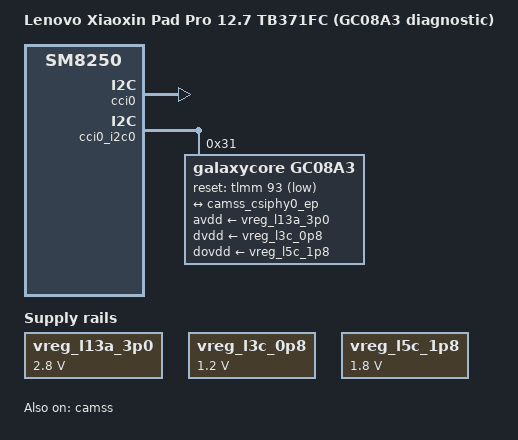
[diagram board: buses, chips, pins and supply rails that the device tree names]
// SPDX-License-Identifier: GPL-2.0-only
/*
 * Temporary, non-installable TB371FC rear GC08A3 identification variant.
 *
 * Boot this DTB only after Android inventory identifies the QTECH GC08A3
 * module. It enables CAMSS, CCI0 master 0 and the three sensor rails; it does
 * not enable the actuator, EEPROM or flash. Never replace the normal DTB with
 * this file and never flash it to a boot slot.
 */

#include <dt-bindings/media/video-interfaces.h>
#include "sm8250-lenovo-tb371fc.dts"

/ {
	model = "Lenovo Xiaoxin Pad Pro 12.7 TB371FC (GC08A3 diagnostic)";
};

/* Stock PM8150 L13 rear analog rail: 2.8 V. */
&vreg_l13a_3p0 {
	regulator-min-microvolt = <2800000>;
	regulator-max-microvolt = <2800000>;
};

/* Downstream PM8150A is represented by mainline PM8150B/suffix c. */
&vreg_l3c_0p8 {
	regulator-min-microvolt = <1200000>;
	regulator-max-microvolt = <1200000>;
};

&vreg_l5c_1p8 {
	regulator-min-microvolt = <1800000>;
	regulator-max-microvolt = <1800000>;
};

&camss {
	vdda-phy-supply = <&vreg_l5a_0p88>;
	vdda-pll-supply = <&vreg_l9a_1p2>;
	status = "okay";

	ports {
		port@0 {
			camss_csiphy0_ep: endpoint {
				bus-type = <MEDIA_BUS_TYPE_CSI2_DPHY>;
				clock-lanes = <7>;
				data-lanes = <0 1 2 3>;
				remote-endpoint = <&gc08a3_ep>;
			};
		};
	};
};

&cci0 {
	status = "okay";
};

&cci0_i2c0 {
	gc08a3: camera@31 {
		compatible = "galaxycore,gc08a3";
		reg = <0x31>;

		clocks = <&camcc CAM_CC_MCLK0_CLK>;
		assigned-clocks = <&camcc CAM_CC_MCLK0_CLK>;
		assigned-clock-rates = <24000000>;

		pinctrl-names = "default";
		pinctrl-0 = <&cam0_default>;
		reset-gpios = <&tlmm 93 GPIO_ACTIVE_LOW>;

		avdd-supply = <&vreg_l13a_3p0>;
		dvdd-supply = <&vreg_l3c_0p8>;
		dovdd-supply = <&vreg_l5c_1p8>;

		port {
			gc08a3_ep: endpoint {
				clock-lanes = <0>;
				data-lanes = <1 2 3 4>;
				link-frequencies = /bits/ 64 <336000000>;
				remote-endpoint = <&camss_csiphy0_ep>;
			};
		};
	};
};

&tlmm {
	cam0_default: cam0-default-state {
		reset-pins {
			pins = "gpio93";
			function = "gpio";
			drive-strength = <2>;
			bias-pull-down;
		};

		mclk-pins {
			pins = "gpio94";
			function = "cam_mclk";
			drive-strength = <16>;
			bias-disable;
		};
	};
};
